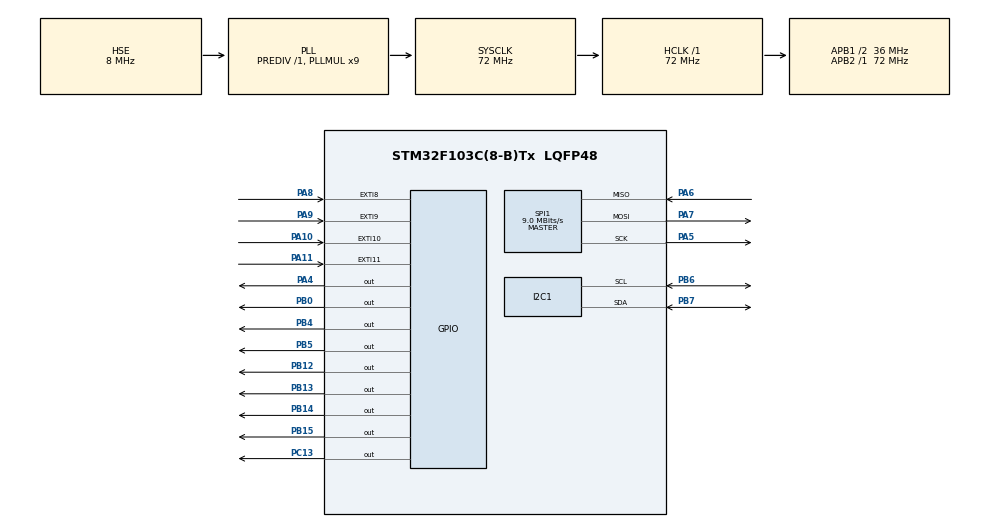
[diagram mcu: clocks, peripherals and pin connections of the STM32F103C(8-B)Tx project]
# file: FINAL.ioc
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Mcu.Family=STM32F1
Mcu.Name=STM32F103C(8-B)Tx
Mcu.Package=LQFP48
NVIC.EXTI15_10_IRQn=true\:0\:0\:false\:false\:true\:true\:true\:true
NVIC.EXTI9_5_IRQn=true\:0\:0\:false\:false\:true\:true\:true\:true
NVIC.PriorityGroup=NVIC_PRIORITYGROUP_4
PA10.Signal=GPXTI10
PA11.Signal=GPXTI11
PA13.Mode=Serial_Wire
PA13.Signal=SYS_JTMS-SWDIO
PA14.Mode=Serial_Wire
PA14.Signal=SYS_JTCK-SWCLK
PA4.GPIO_Speed=GPIO_SPEED_FREQ_HIGH
PA4.Signal=GPIO_Output
PA5.Mode=Full_Duplex_Master
PA5.Signal=SPI1_SCK
PA6.Mode=Full_Duplex_Master
PA6.Signal=SPI1_MISO
PA7.Mode=Full_Duplex_Master
PA7.Signal=SPI1_MOSI
PA8.Signal=GPXTI8
PA9.Signal=GPXTI9
PB0.GPIO_Speed=GPIO_SPEED_FREQ_HIGH
PB0.Signal=GPIO_Output
PB12.GPIO_Speed=GPIO_SPEED_FREQ_HIGH
PB12.Signal=GPIO_Output
PB13.GPIO_Speed=GPIO_SPEED_FREQ_HIGH
PB13.Signal=GPIO_Output
PB14.GPIO_Speed=GPIO_SPEED_FREQ_HIGH
PB14.Signal=GPIO_Output
PB15.GPIO_Speed=GPIO_SPEED_FREQ_HIGH
PB15.Signal=GPIO_Output
PB4.GPIO_Speed=GPIO_SPEED_FREQ_HIGH
PB4.Signal=GPIO_Output
PB5.GPIO_Speed=GPIO_SPEED_FREQ_HIGH
PB5.Signal=GPIO_Output
PB6.Mode=I2C
PB6.Signal=I2C1_SCL
PB7.Mode=I2C
PB7.Signal=I2C1_SDA
PC13-TAMPER-RTC.GPIO_Speed=GPIO_SPEED_FREQ_HIGH
PC13-TAMPER-RTC.PinState=GPIO_PIN_SET
PC13-TAMPER-RTC.Signal=GPIO_Output
PD0-OSC_IN.Mode=HSE-External-Oscillator
PD0-OSC_IN.Signal=RCC_OSC_IN
PD1-OSC_OUT.Mode=HSE-External-Oscillator
PD1-OSC_OUT.Signal=RCC_OSC_OUT
ProjectManager.HeapSize=0x200
ProjectManager.StackSize=0x400
ProjectManager.TargetToolchain=STM32CubeIDE
RCC.AHBFreq_Value=72000000
RCC.APB1CLKDivider=RCC_HCLK_DIV2
RCC.APB1Freq_Value=36000000
RCC.APB1TimFreq_Value=72000000
RCC.APB2Freq_Value=72000000
RCC.APB2TimFreq_Value=72000000
RCC.HCLKFreq_Value=72000000
RCC.PLLMUL=RCC_PLL_MUL9
RCC.PLLSourceVirtual=RCC_PLLSOURCE_HSE
RCC.SYSCLKFreq_VALUE=72000000
RCC.SYSCLKSource=RCC_SYSCLKSOURCE_PLLCLK
RCC.USBFreq_Value=72000000
SPI1.BaudRatePrescaler=SPI_BAUDRATEPRESCALER_8
SPI1.CalculateBaudRate=9.0 MBits/s
SPI1.Direction=SPI_DIRECTION_2LINES
SPI1.Mode=SPI_MODE_MASTER
SPI1.VirtualType=VM_MASTER
board=custom

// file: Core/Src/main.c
/* USER CODE BEGIN Header */
/**
  ******************************************************************************
  * @file           : main.c
  * @brief          : Main program body
  ******************************************************************************
  * @attention
  *
  * Copyright (c) 2024 STMicroelectronics.
  * All rights reserved.
  *
  * This software is licensed under terms that can be found in the LICENSE file
  * in the root directory of this software component.
  * If no LICENSE file comes with this software, it is provided AS-IS.
  *
  ******************************************************************************
  */
/* USER CODE END Header */
#include "main.h"

/* USER CODE BEGIN Includes */

#include "rc522.h"
#include "string.h"
#include "i2c-lcd.h"
#include "stdio.h"
#include <stdbool.h>
/* USER CODE END Includes */

I2C_HandleTypeDef hi2c1;

SPI_HandleTypeDef hspi1;

/* USER CODE BEGIN PV */
//RFID
uint8_t status;
uint8_t str[MAX_LEN];
uint8_t CARDID[5];

char buffer[16];      // Mang de luu chuoi cho LCD

//MENU
uint8_t Mode0 = 0 ;
uint8_t Mode1 = 1 ;
uint8_t attempt = 0 ;
bool Mode = true  ;
uint16_t GPIO_Pin ;

//KEYPAD
GPIO_InitTypeDef GPIO_InitStructPrivate = {0};
uint32_t previousMillis = 0;
uint32_t currentMillis = 0 ;
uint8_t keyPressed = 0;

//PASSWORD
char input[6] = "000000";
char initial_password[6] = "311724";

/* USER CODE END PV */

void SystemClock_Config(void);
static void MX_GPIO_Init(void);
static void MX_I2C1_Init(void);
static void MX_SPI1_Init(void);
/* USER CODE BEGIN PFP */

void checkpass(){
    if (strcmp(input, initial_password) == 0)
               {
                HAL_GPIO_WritePin(GPIOB, GPIO_PIN_5, 1 ); // Mở khóa cửa
	            lcd_clear();
	            lcd_put_cur(0, 0);
	            lcd_send_string("MAT KHAU DUNG");
                HAL_Delay(100);
//
//              if ( keyPressed == 68){
//              input[0]= input[1]=input[2]=input[3]=input[4]=input[5]= 48;
//              HAL_GPIO_WritePin(GPIOB, GPIO_PIN_5, 1 );}
                }

	        else
	           {
	            lcd_clear();
	            lcd_put_cur(0, 0);
	            lcd_send_string("MAT KHAU SAI") ;
	            input[0]= input[1]=input[2]=input[3]=input[4]=input[5]= 48;
	            HAL_Delay(2000);
	            if ( keyPressed != 65){attempt++;}
	            }

	            if (attempt >= 5)
	            {   lcd_clear();
                    lcd_put_cur(0, 0);
                    lcd_send_string("KHOA 5 PHUT");
	                HAL_Delay(10000); // Khóa 10s
	                attempt = 0;
	            }
	            else
	            {
	                HAL_Delay(1000); // Delay 1 giây
	            }

}

void loop(){
        if(Mode == true ){
      	  lcd_clear();
      	  	  	  	    	        lcd_put_cur(0, 0);  // Dat con tro len dong 1
      	  	  	  	    	        lcd_send_string("KHOA DANG DONG");
      	  	  	  	    	        lcd_put_cur(1, 0);  // Dat con tro len dong 2
      	  	  	  	    	        lcd_send_string("NHAP MA THE RFID");
      	  	  	  	    	        HAL_Delay(1000);

      	  status = MFRC522_Request(PICC_REQIDL, str);
      	  status = MFRC522_Anticoll(str);
      	  memcpy(CARDID, str, 5);
//      	  HAL_Delay(100);

        if (status == MI_OK) {
  	  if((str[0]==59) && (str[1]==3) && (str[2]==123) && (str[3]==135) && (str[4]==196) )
  	  	  	     {
  	  	  	    	 lcd_clear();
  	  	  	    	                  lcd_put_cur(0, 0);  // Dat con tro len dong 1
  	  	  	    	                  lcd_send_string("MA THE HOP LE 1");
  	  	  	    	                  lcd_put_cur(1, 0);  // Dat con tro len dong 2
  	  	  	    	                  lcd_send_string("MSSV: 20240000");
  	  	  	    	                  HAL_Delay(2000);

	  	  	    	                  Mode = false;
  	  	  	       }
  	  else if((str[0]==175) && (str[1]==11) && (str[2]==51) && (str[3]==31) && (str[4]==136) )
  	  	  	       {
  	  	  	    	 lcd_clear();
  	  	  	    		    	      lcd_put_cur(0, 0);  // Dat con tro len dong 1
  	  	  	    		    	      lcd_send_string("MA THE HOP LE 2 ");
  	  	  	    		    	      lcd_put_cur(1, 0);  // Dat con tro len dong 2
  	  	  	    		    	      lcd_send_string("MSSV: 20240001");
  	  	  	    		    	      HAL_Delay(2000);

 	  	  	    		    	 	  Mode = false;
  	  	  	     }
  	  	  	     else
  	  	  	     {   lcd_clear();
  	  	  	    	                  lcd_put_cur(0, 0);  // Dat con tro len dong 1
  	  	  	    	                  lcd_send_string("MA THE SAI");
  	  	  	    	                  lcd_put_cur(1, 0);  // Dat con tro len dong 2
  	  	  	    	                  lcd_send_string("YEU CAU NHAP LAI");
  	  	  	    	                  HAL_Delay(1000);
  	  	  	    	 HAL_GPIO_TogglePin(GPIOC, GPIO_PIN_13);
  	  	  	    	 HAL_Delay(200);
  	  	  	     }

        }

        }
        if (Mode == false){
        	lcd_init();

        	    HAL_GPIO_WritePin(GPIOB, GPIO_PIN_12, 1);
        	    HAL_GPIO_WritePin(GPIOB, GPIO_PIN_13, 1);
        	    HAL_GPIO_WritePin(GPIOB, GPIO_PIN_14, 1);
        	    HAL_GPIO_WritePin(GPIOB, GPIO_PIN_15, 1);

        	    lcd_clear();
        	    lcd_put_cur(0, 0);
        	    lcd_send_string("NHAP MAT KHAU");
        	    while (Mode == false)
        	      {
        	                       if ( keyPressed != 65)
        	                          { lcd_clear();
        	                            lcd_put_cur(0, 0);
        	                            lcd_send_string("NHAP MAT KHAU");
        	                            HAL_Delay(1000);}

        	    	                    if(keyPressed == 51){input[0] = 51; }
        	    	                    if(keyPressed == 49){input[1] = input[2] = 49; }
        	    	                    if(keyPressed == 55){input[3] = 55; }
        	    	                    if(keyPressed == 50){input[4] = 50; }
        	    	                    if(keyPressed == 52){input[5] = 52; }

        	    	                    bool allDifferentFrom48 = true;
        	    	                    for (int i = 0; i < 6; i++) {
        	    	                        if (input[i] == 48) {
        	    	                            allDifferentFrom48 = false;
        	    	                            break;
        	    	                        }
        	    	                    }

        	    	                    if (allDifferentFrom48) {
        	    	                        lcd_put_cur(1, 0);
        	    	                        lcd_send_string("******");
        	    	                        HAL_Delay(100);
        	    	                    }

        	                            if ( keyPressed == 65 )
        	                            {checkpass();}

        	                            if ( keyPressed == 64){
        	                            HAL_GPIO_WritePin(GPIOB, GPIO_PIN_5, 0 );
        	                            input[0]= input[1]=input[2]=input[3]=input[4]=input[5]= 48;
        	                            keyPressed = 48;
        	                            Mode = true;
        	                            }

        	      }
        }

    }

/* USER CODE END PFP */

int main(void)
{

  /* MCU Configuration--------------------------------------------------------*/

  /* Reset of all peripherals, Initializes the Flash interface and the Systick. */
  HAL_Init();

  /* Configure the system clock */
  SystemClock_Config();

  /* Initialize all configured peripherals */
  MX_GPIO_Init();
  MX_I2C1_Init();
  MX_SPI1_Init();
  /* USER CODE BEGIN 2 */

  MFRC522_Init();

  /* USER CODE END 2 */

  /* Infinite loop */
  while (1)
  {

    /* USER CODE BEGIN 3 */

	  loop();

  }
  /* USER CODE END 3 */
}

void SystemClock_Config(void)
{
  RCC_OscInitTypeDef RCC_OscInitStruct = {0};
  RCC_ClkInitTypeDef RCC_ClkInitStruct = {0};

  /** Initializes the RCC Oscillators according to the specified parameters
  * in the RCC_OscInitTypeDef structure.
  */
  RCC_OscInitStruct.OscillatorType = RCC_OSCILLATORTYPE_HSE;
  RCC_OscInitStruct.HSEState = RCC_HSE_ON;
  RCC_OscInitStruct.HSEPredivValue = RCC_HSE_PREDIV_DIV1;
  RCC_OscInitStruct.HSIState = RCC_HSI_ON;
  RCC_OscInitStruct.PLL.PLLState = RCC_PLL_ON;
  RCC_OscInitStruct.PLL.PLLSource = RCC_PLLSOURCE_HSE;
  RCC_OscInitStruct.PLL.PLLMUL = RCC_PLL_MUL9;
  if (HAL_RCC_OscConfig(&RCC_OscInitStruct) != HAL_OK)
  {
    Error_Handler();
  }

  /** Initializes the CPU, AHB and APB buses clocks
  */
  RCC_ClkInitStruct.ClockType = RCC_CLOCKTYPE_HCLK|RCC_CLOCKTYPE_SYSCLK
                              |RCC_CLOCKTYPE_PCLK1|RCC_CLOCKTYPE_PCLK2;
  RCC_ClkInitStruct.SYSCLKSource = RCC_SYSCLKSOURCE_PLLCLK;
  RCC_ClkInitStruct.AHBCLKDivider = RCC_SYSCLK_DIV1;
  RCC_ClkInitStruct.APB1CLKDivider = RCC_HCLK_DIV2;
  RCC_ClkInitStruct.APB2CLKDivider = RCC_HCLK_DIV1;

  if (HAL_RCC_ClockConfig(&RCC_ClkInitStruct, FLASH_LATENCY_2) != HAL_OK)
  {
    Error_Handler();
  }
}

static void MX_I2C1_Init(void)
{

  hi2c1.Instance = I2C1;
  hi2c1.Init.ClockSpeed = 100000;
  hi2c1.Init.DutyCycle = I2C_DUTYCYCLE_2;
  hi2c1.Init.OwnAddress1 = 0;
  hi2c1.Init.AddressingMode = I2C_ADDRESSINGMODE_7BIT;
  hi2c1.Init.DualAddressMode = I2C_DUALADDRESS_DISABLE;
  hi2c1.Init.OwnAddress2 = 0;
  hi2c1.Init.GeneralCallMode = I2C_GENERALCALL_DISABLE;
  hi2c1.Init.NoStretchMode = I2C_NOSTRETCH_DISABLE;
  if (HAL_I2C_Init(&hi2c1) != HAL_OK)
  {
    Error_Handler();
  }

}

static void MX_SPI1_Init(void)
{

  /* SPI1 parameter configuration*/
  hspi1.Instance = SPI1;
  hspi1.Init.Mode = SPI_MODE_MASTER;
  hspi1.Init.Direction = SPI_DIRECTION_2LINES;
  hspi1.Init.DataSize = SPI_DATASIZE_8BIT;
  hspi1.Init.CLKPolarity = SPI_POLARITY_LOW;
  hspi1.Init.CLKPhase = SPI_PHASE_1EDGE;
  hspi1.Init.NSS = SPI_NSS_SOFT;
  hspi1.Init.BaudRatePrescaler = SPI_BAUDRATEPRESCALER_8;
  hspi1.Init.FirstBit = SPI_FIRSTBIT_MSB;
  hspi1.Init.TIMode = SPI_TIMODE_DISABLE;
  hspi1.Init.CRCCalculation = SPI_CRCCALCULATION_DISABLE;
  hspi1.Init.CRCPolynomial = 10;
  if (HAL_SPI_Init(&hspi1) != HAL_OK)
  {
    Error_Handler();
  }

}

static void MX_GPIO_Init(void)
{
  GPIO_InitTypeDef GPIO_InitStruct = {0};

  /* GPIO Ports Clock Enable */
  __HAL_RCC_GPIOC_CLK_ENABLE();
  __HAL_RCC_GPIOD_CLK_ENABLE();
  __HAL_RCC_GPIOA_CLK_ENABLE();
  __HAL_RCC_GPIOB_CLK_ENABLE();

  /*Configure GPIO pin Output Level */
  HAL_GPIO_WritePin(GPIOC, GPIO_PIN_13, GPIO_PIN_SET);

  /*Configure GPIO pin Output Level */
  HAL_GPIO_WritePin(GPIOA, GPIO_PIN_4, GPIO_PIN_RESET);

  /*Configure GPIO pin Output Level */
  HAL_GPIO_WritePin(GPIOB, GPIO_PIN_0|GPIO_PIN_12|GPIO_PIN_13|GPIO_PIN_14
                          |GPIO_PIN_15|GPIO_PIN_4|GPIO_PIN_5, GPIO_PIN_RESET);

  /*Configure GPIO pin : PC13 */
  GPIO_InitStruct.Pin = GPIO_PIN_13;
  GPIO_InitStruct.Mode = GPIO_MODE_OUTPUT_PP;
  GPIO_InitStruct.Pull = GPIO_NOPULL;
  GPIO_InitStruct.Speed = GPIO_SPEED_FREQ_HIGH;
  HAL_GPIO_Init(GPIOC, &GPIO_InitStruct);

  /*Configure GPIO pin : PA4 */
  GPIO_InitStruct.Pin = GPIO_PIN_4;
  GPIO_InitStruct.Mode = GPIO_MODE_OUTPUT_PP;
  GPIO_InitStruct.Pull = GPIO_NOPULL;
  GPIO_InitStruct.Speed = GPIO_SPEED_FREQ_HIGH;
  HAL_GPIO_Init(GPIOA, &GPIO_InitStruct);

  /*Configure GPIO pins : PB0 PB12 PB13 PB14
                           PB15 PB4 PB5 */
  GPIO_InitStruct.Pin = GPIO_PIN_0|GPIO_PIN_12|GPIO_PIN_13|GPIO_PIN_14
                          |GPIO_PIN_15|GPIO_PIN_4|GPIO_PIN_5;
  GPIO_InitStruct.Mode = GPIO_MODE_OUTPUT_PP;
  GPIO_InitStruct.Pull = GPIO_NOPULL;
  GPIO_InitStruct.Speed = GPIO_SPEED_FREQ_HIGH;
  HAL_GPIO_Init(GPIOB, &GPIO_InitStruct);

  /*Configure GPIO pins : PA8 PA9 PA10 PA11 */
  GPIO_InitStruct.Pin = GPIO_PIN_8|GPIO_PIN_9|GPIO_PIN_10|GPIO_PIN_11;
  GPIO_InitStruct.Mode = GPIO_MODE_IT_RISING;
  GPIO_InitStruct.Pull = GPIO_NOPULL;
  HAL_GPIO_Init(GPIOA, &GPIO_InitStruct);

  /* EXTI interrupt init*/
  HAL_NVIC_SetPriority(EXTI9_5_IRQn, 0, 0);
  HAL_NVIC_EnableIRQ(EXTI9_5_IRQn);

  HAL_NVIC_SetPriority(EXTI15_10_IRQn, 0, 0);
  HAL_NVIC_EnableIRQ(EXTI15_10_IRQn);

}

/* USER CODE BEGIN 4 */

void HAL_GPIO_EXTI_Callback(uint16_t GPIO_Pin)
{
  currentMillis = HAL_GetTick();
  if (currentMillis - previousMillis > 10) {
    /*Configure GPIO pins : PA8 PA9 PA10 PA11 to GPIO_INPUT*/
    GPIO_InitStructPrivate.Pin = GPIO_PIN_8|GPIO_PIN_9|GPIO_PIN_10|GPIO_PIN_11;
    GPIO_InitStructPrivate.Mode = GPIO_MODE_INPUT;
    GPIO_InitStructPrivate.Pull = GPIO_NOPULL;
    GPIO_InitStructPrivate.Speed = GPIO_SPEED_FREQ_LOW;
    HAL_GPIO_Init(GPIOA, &GPIO_InitStructPrivate);

    HAL_GPIO_WritePin(GPIOB, GPIO_PIN_12, 1);
    HAL_GPIO_WritePin(GPIOB, GPIO_PIN_13, 0);
    HAL_GPIO_WritePin(GPIOB, GPIO_PIN_14, 0);
    HAL_GPIO_WritePin(GPIOB, GPIO_PIN_15, 0);
    if(GPIO_Pin == GPIO_PIN_8 && HAL_GPIO_ReadPin(GPIOA, GPIO_PIN_8))
    {
      while(HAL_GPIO_ReadPin(GPIOB,GPIO_PIN_8)==0){}
      keyPressed = 49; //ASCII value of 1

    }
    else if(GPIO_Pin == GPIO_PIN_9 && HAL_GPIO_ReadPin(GPIOA, GPIO_PIN_9))
    {
      while(HAL_GPIO_ReadPin(GPIOB,GPIO_PIN_9)==0){}
      keyPressed = 53; //ASCII value of 5

    }
    else if(GPIO_Pin == GPIO_PIN_10 && HAL_GPIO_ReadPin(GPIOA, GPIO_PIN_10))
    {
      while(HAL_GPIO_ReadPin(GPIOB,GPIO_PIN_10)==0){}
      keyPressed = 57; //ASCII value of 9

    }
    else if(GPIO_Pin == GPIO_PIN_11 && HAL_GPIO_ReadPin(GPIOA, GPIO_PIN_11))
    {
      while(HAL_GPIO_ReadPin(GPIOB,GPIO_PIN_11)==0){}
      keyPressed = 65; //ASCII value of A

    }

        HAL_GPIO_WritePin(GPIOB, GPIO_PIN_12, 0);
        HAL_GPIO_WritePin(GPIOB, GPIO_PIN_13, 1);
        HAL_GPIO_WritePin(GPIOB, GPIO_PIN_14, 0);
        HAL_GPIO_WritePin(GPIOB, GPIO_PIN_15, 0);
    if(GPIO_Pin == GPIO_PIN_8 && HAL_GPIO_ReadPin(GPIOA, GPIO_PIN_8))
    {
      while(HAL_GPIO_ReadPin(GPIOB,GPIO_PIN_8)==0){}
      keyPressed = 50; //ASCII value of 2

    }
    else if(GPIO_Pin == GPIO_PIN_9 && HAL_GPIO_ReadPin(GPIOA, GPIO_PIN_9))
    {
      while(HAL_GPIO_ReadPin(GPIOB,GPIO_PIN_9)==0){}
      keyPressed = 54; //ASCII value of 6

    }
    else if(GPIO_Pin == GPIO_PIN_10 && HAL_GPIO_ReadPin(GPIOA, GPIO_PIN_10))
    {
      while(HAL_GPIO_ReadPin(GPIOB,GPIO_PIN_10)==0){}
      keyPressed = 42; //ASCII value of *

    }
    else if(GPIO_Pin == GPIO_PIN_11 && HAL_GPIO_ReadPin(GPIOA, GPIO_PIN_11))
    {
      while(HAL_GPIO_ReadPin(GPIOB,GPIO_PIN_11)==0){}
      keyPressed = 66; //ASCII value of B

    }
        HAL_GPIO_WritePin(GPIOB, GPIO_PIN_12, 0);
        HAL_GPIO_WritePin(GPIOB, GPIO_PIN_13, 0);
        HAL_GPIO_WritePin(GPIOB, GPIO_PIN_14, 1);
        HAL_GPIO_WritePin(GPIOB, GPIO_PIN_15, 0);
    if(GPIO_Pin == GPIO_PIN_8 && HAL_GPIO_ReadPin(GPIOA, GPIO_PIN_8))
    {
      while(HAL_GPIO_ReadPin(GPIOB,GPIO_PIN_8)==0){}
      keyPressed = 51; //ASCII value of 3

    }
    else if(GPIO_Pin == GPIO_PIN_9 && HAL_GPIO_ReadPin(GPIOA, GPIO_PIN_9))
    {
      while(HAL_GPIO_ReadPin(GPIOB,GPIO_PIN_9)==0){}
      keyPressed = 55; //ASCII value of 7

    }
    else if(GPIO_Pin == GPIO_PIN_10 && HAL_GPIO_ReadPin(GPIOA, GPIO_PIN_10))
    {
       while(HAL_GPIO_ReadPin(GPIOB,GPIO_PIN_10)==0){}
       keyPressed = 35; //ASCII value of  #

    }
    else if(GPIO_Pin == GPIO_PIN_11 && HAL_GPIO_ReadPin(GPIOA, GPIO_PIN_11))
    {
       while(HAL_GPIO_ReadPin(GPIOB,GPIO_PIN_11)==0){}
       keyPressed = 67; //ASCII value of C

    }

         HAL_GPIO_WritePin(GPIOB, GPIO_PIN_12, 0);
         HAL_GPIO_WritePin(GPIOB, GPIO_PIN_13, 0);
         HAL_GPIO_WritePin(GPIOB, GPIO_PIN_14, 0);
         HAL_GPIO_WritePin(GPIOB, GPIO_PIN_15, 1);
    if(GPIO_Pin == GPIO_PIN_8 && HAL_GPIO_ReadPin(GPIOA, GPIO_PIN_8))
    {
      while(HAL_GPIO_ReadPin(GPIOB,GPIO_PIN_8)==0){}
      keyPressed = 52; //ASCII value of 4

    }
    else if(GPIO_Pin == GPIO_PIN_9 && HAL_GPIO_ReadPin(GPIOA, GPIO_PIN_9))
    {
      while(HAL_GPIO_ReadPin(GPIOB,GPIO_PIN_9)==0){}
      keyPressed = 56; //ASCII value of 8

    }
    else if(GPIO_Pin == GPIO_PIN_10 && HAL_GPIO_ReadPin(GPIOA, GPIO_PIN_10))
    {
      while(HAL_GPIO_ReadPin(GPIOB,GPIO_PIN_10)==0){}
      keyPressed = 64; //ASCII value of @

    }
    else if(GPIO_Pin == GPIO_PIN_11 && HAL_GPIO_ReadPin(GPIOA, GPIO_PIN_11))
    {
      while(HAL_GPIO_ReadPin(GPIOB,GPIO_PIN_11)==0){}
      keyPressed = 68; //ASCII value of D

    }

    HAL_GPIO_WritePin(GPIOB, GPIO_PIN_12, 1);
    HAL_GPIO_WritePin(GPIOB, GPIO_PIN_13, 1);
    HAL_GPIO_WritePin(GPIOB, GPIO_PIN_14, 1);
    HAL_GPIO_WritePin(GPIOB, GPIO_PIN_15, 1);
    /*Configure GPIO pins : PA8 PA9 PA10 PA11 back to EXTI*/
    GPIO_InitStructPrivate.Mode = GPIO_MODE_IT_RISING;
    GPIO_InitStructPrivate.Pull = GPIO_PULLDOWN;
    HAL_GPIO_Init(GPIOA, &GPIO_InitStructPrivate);
    previousMillis = currentMillis;

  }
}

/* USER CODE END 4 */

void Error_Handler(void)
{
  __disable_irq();
  while (1)
  {
  }
}
